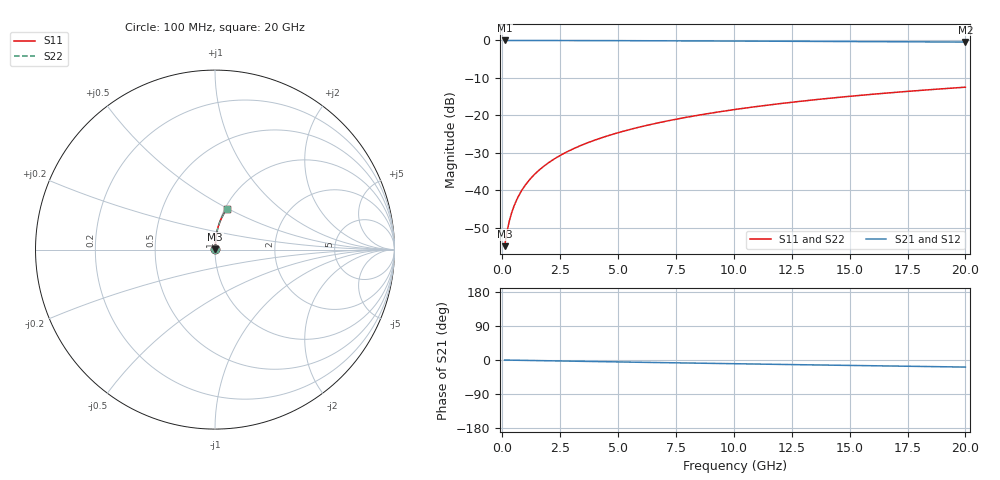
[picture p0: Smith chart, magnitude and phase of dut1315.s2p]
! Touchstone file exported from HFSS 2024.1.0
!  File:  C:/UserFiles/LocalFiles/RDL_TSV_Batchsim/temp_RDL_bottom_1315_1780368718.aedt
!  Generated:  10:54:55 AM Jun  2, 2026
!  Design:  RDL_bottom
!  Project:  temp_RDL_bottom_1315_1780368718
!  Setup:  Setup1
!  Solution:  Sweep
! Variables:
!  dtsv = 10.80580581um
!  hbump = 3um
!  htsv = 73.83um
!  ldown = 197.8um
!  lrdl = 100um
!  p = 40
!  p1 = 55um
!  rhole = 1um
!  t = 450um
!  tdown = 3.87um
!  trdl = 3.915915916um
!  wdown = 15.7um
!  wrdl = 20um
# GHz S MA R 50.000000
! Terminal data exported
! Port[1] = RDL1_T1
! Port[2] = RDL1_T2
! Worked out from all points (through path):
!   200 points, 100 MHz to 20 GHz, reference 50 ohm
!   highest |S21| = -0.01 dB at 100 MHz (marker M1); lowest = -0.4 dB at 20 GHz (marker M2)
!   group delay of S21, straight-line fit = 2.58 ps
!   lowest |S11| = -55.0 dB at 100 MHz (marker M3), VSWR 1.00, Z = 50.1 + j0.121 ohm
!   |S11| at or under -10 dB: start of sweep to end of sweep
!   |S22| runs from -55.0 to -12.5 dB; largest |S21 - S12| = 4e-15
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0.1  0.001783 42.5  0.9987 -0.1  0.9987 -0.1  0.001783 42.5
! Gamma 0 0 0 0
! Port Impedance 50 0 50 0
0.2  0.002746 60.6  0.9986 -0.2  0.9986 -0.2  0.002746 60.6
0.3  0.003822 68.7  0.9986 -0.3  0.9986 -0.3  0.003822 68.7
0.4  0.004929 73.2  0.9985 -0.4  0.9985 -0.4  0.004929 73.2
0.5  0.006048 76.1  0.9985 -0.5  0.9985 -0.5  0.006048 76.1
0.6  0.007175 78.1  0.9984 -0.6  0.9984 -0.6  0.007175 78.1
0.8  0.009444 80.7  0.9983 -0.8  0.9983 -0.8  0.009444 80.7
1.1  0.01287 82.8  0.9982 -1.1  0.9982 -1.1  0.01287 82.8
1.5  0.01747 84.4  0.9979 -1.6  0.9979 -1.6  0.01747 84.4
1.8  0.02093 85.0  0.9976 -1.9  0.9976 -1.9  0.02093 85.0
2.1  0.02441 85.4  0.9973 -2.2  0.9973 -2.2  0.02441 85.4
2.7  0.03138 85.9  0.9966 -2.8  0.9966 -2.8  0.03138 85.9
3.5  0.04073 86.1  0.9955 -3.6  0.9955 -3.6  0.04073 86.1
4.2  0.04898 86.0  0.9943 -4.3  0.9943 -4.3  0.04898 86.0
5  0.05846 85.8  0.9927 -5.1  0.9927 -5.1  0.05846 85.8
5.9  0.06921 85.4  0.9908 -6.0  0.9908 -6.0  0.06921 85.4
6.8  0.08004 84.9  0.9887 -6.8  0.9887 -6.8  0.08004 84.9
8.3  0.09819 83.9  0.9851 -8.3  0.9851 -8.3  0.09819 83.9
10.1  0.1201 82.5  0.9804 -9.9  0.9804 -9.9  0.1201 82.5
13.4  0.16 79.7  0.9712 -12.9  0.9712 -12.9  0.16 79.7
16.7  0.1992 76.8  0.9613 -15.8  0.9613 -15.8  0.1992 76.8
20  0.2372 73.8  0.9506 -18.7  0.9506 -18.7  0.2372 73.8
